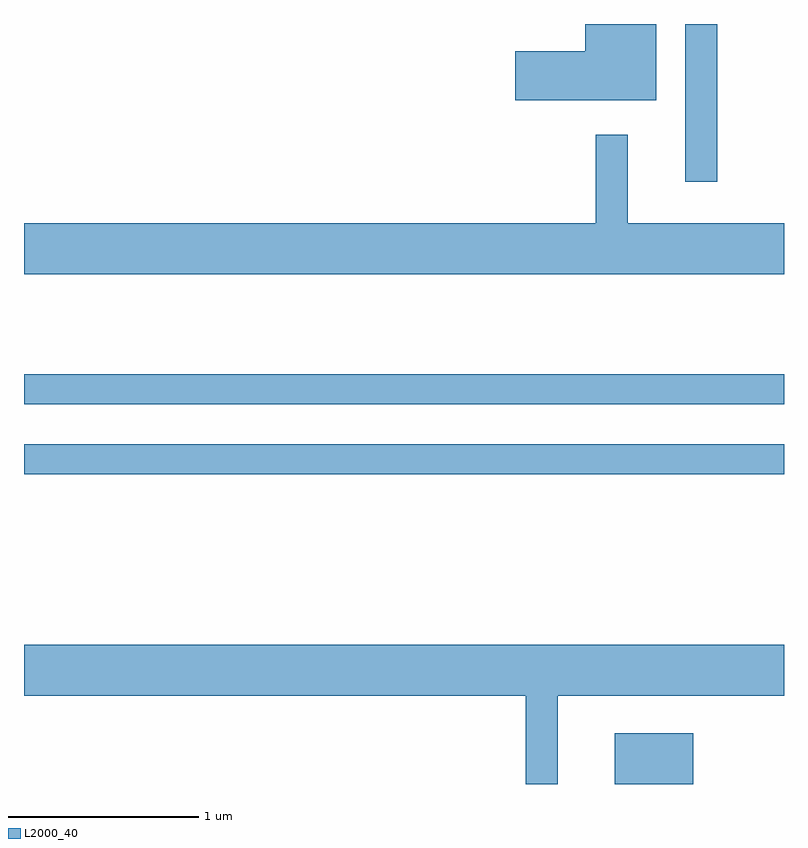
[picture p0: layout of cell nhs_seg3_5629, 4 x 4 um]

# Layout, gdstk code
import gdstk
lib = gdstk.Library(unit=1e-6, precision=1e-09)
def R(c, l, rs):  # rectangles x0, y0, x1, y1
    for r in rs: c.add(gdstk.rectangle(r[:2], r[2:], *l))
def P(c, l, *ps):  # polygons
    for p in ps: c.add(gdstk.Polygon(p, *l))
L2000_40 = (2000, 40)

nhs_seg3_5629 = lib.new_cell('nhs_seg3_5629')
R(nhs_seg3_5629, L2000_40, [(352.721,1229.892,353.134,1230.159), (349.611,1231.521,353.611,1231.679), (349.611,1231.891,353.611,1232.049), (353.091,1233.063,353.259,1233.892)])
P(nhs_seg3_5629, L2000_40, [(352.939,1233.892),(352.566,1233.892),(352.566,1233.749),(352.196,1233.749),(352.196,1233.491),(352.939,1233.491)],
  [(353.611,1232.844),(352.789,1232.844),(352.789,1233.308),(352.621,1233.308),(352.621,1232.844),(349.611,1232.844),(349.611,1232.576),(353.611,1232.576)],
  [(352.419,1230.356),(353.611,1230.356),(353.611,1230.624),(349.611,1230.624),(349.611,1230.356),(352.251,1230.356),(352.251,1229.892),(352.419,1229.892)])

lib.write_gds('nhs_seg3_5629.gds')
